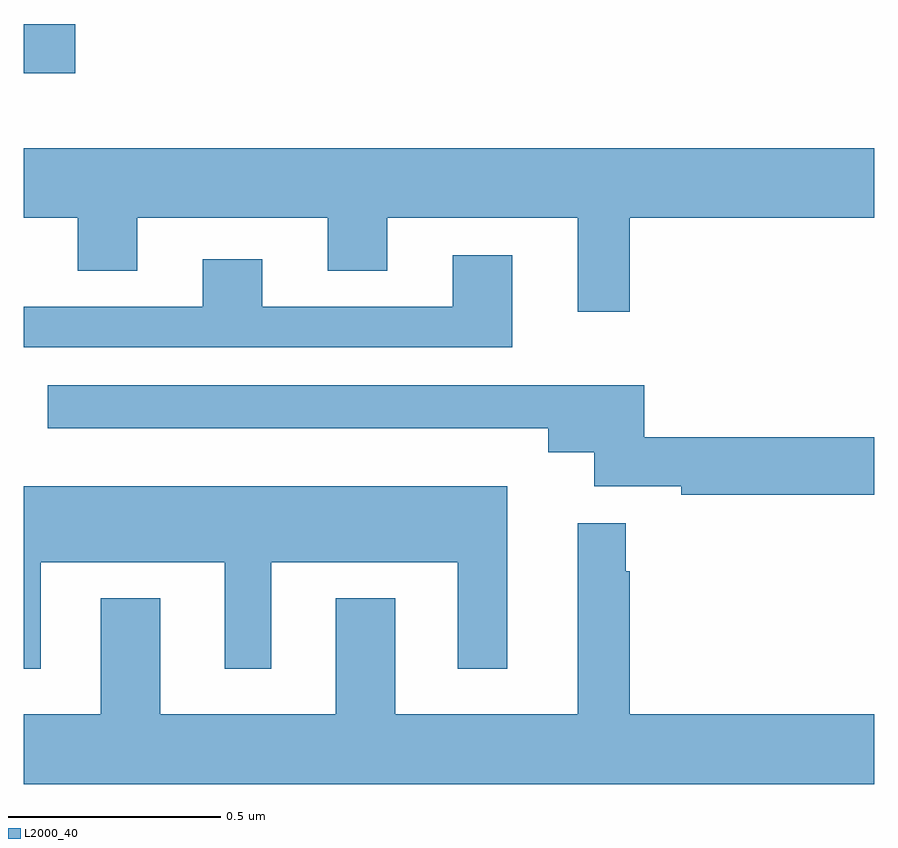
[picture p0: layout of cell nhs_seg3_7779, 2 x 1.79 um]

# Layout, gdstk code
import gdstk
lib = gdstk.Library(unit=1e-6, precision=1e-09)
def R(c, l, rs):  # rectangles x0, y0, x1, y1
    for r in rs: c.add(gdstk.rectangle(r[:2], r[2:], *l))
def P(c, l, *ps):  # polygons
    for p in ps: c.add(gdstk.Polygon(p, *l))
L2000_40 = (2000, 40)

nhs_seg3_7779 = lib.new_cell('nhs_seg3_7779')
R(nhs_seg3_7779, L2000_40, [(208,673.284,208.121,673.4)])
P(nhs_seg3_7779, L2000_40, [(209.425,672.944),(210,672.944),(210,673.108),(208,673.108),(208,672.944),(208.127,672.944),(208.127,672.82),(208.267,672.82),(208.267,672.944),(208.715,672.944),(208.715,672.82),(208.855,672.82),(208.855,672.944),(209.303,672.944),(209.303,672.723),(209.425,672.723)],
  [(209.149,672.856),(209.009,672.856),(209.009,672.735),(208.561,672.735),(208.561,672.847),(208.421,672.847),(208.421,672.735),(208,672.735),(208,672.639),(209.149,672.639)],
  [(210,672.428),(209.459,672.428),(209.459,672.55),(208.056,672.55),(208.056,672.449),(209.234,672.449),(209.234,672.392),(209.342,672.392),(209.342,672.312),(209.546,672.312),(209.546,672.292),(210,672.292)],
  [(208.039,672.134),(208.472,672.134),(208.472,671.883),(208.582,671.883),(208.582,672.134),(209.021,672.134),(209.021,671.883),(209.137,671.883),(209.137,672.313),(208,672.313),(208,671.883),(208.039,671.883)],
  [(210,671.776),(209.425,671.776),(209.425,672.113),(209.416,672.113),(209.416,672.226),(209.303,672.226),(209.303,671.776),(208.873,671.776),(208.873,672.049),(208.733,672.049),(208.733,671.776),(208.321,671.776),(208.321,672.049),(208.181,672.049),(208.181,671.776),(208,671.776),(208,671.612),(210,671.612)])

lib.write_gds('nhs_seg3_7779.gds')
